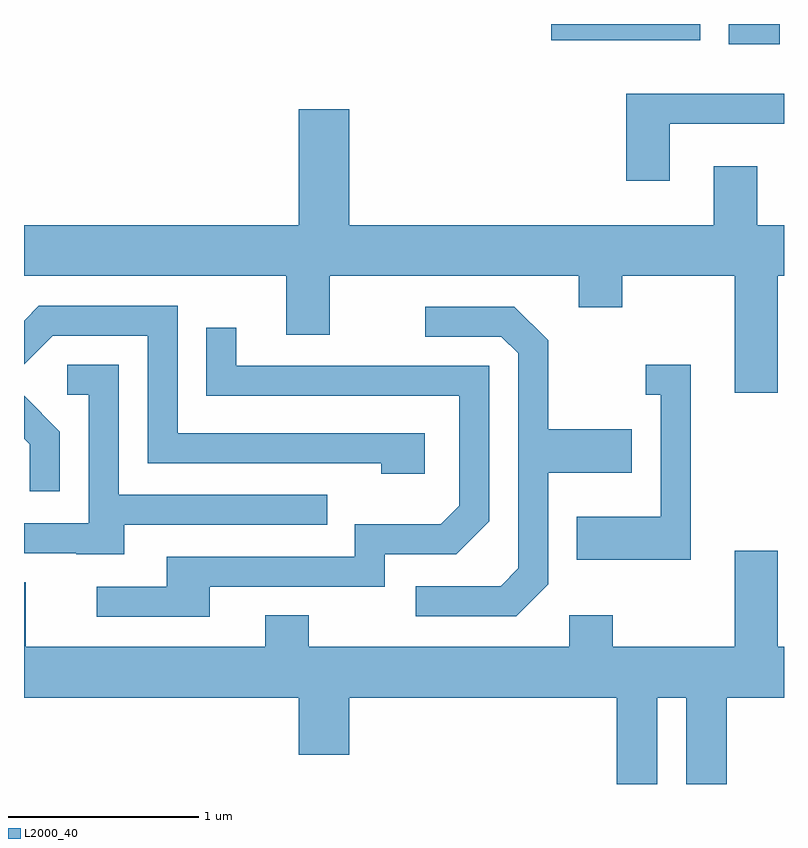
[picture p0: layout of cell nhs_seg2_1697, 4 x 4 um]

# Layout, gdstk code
import gdstk
lib = gdstk.Library(unit=1e-6, precision=1e-09)
def R(c, l, rs):  # rectangles x0, y0, x1, y1
    for r in rs: c.add(gdstk.rectangle(r[:2], r[2:], *l))
def P(c, l, *ps):  # polygons
    for p in ps: c.add(gdstk.Polygon(p, *l))
L2000_40 = (2000, 40)

nhs_seg2_1697 = lib.new_cell('nhs_seg2_1697')
R(nhs_seg2_1697, L2000_40, [(237.321,1111.696,237.589,1111.802), (236.386,1111.716,237.169,1111.802)])
P(nhs_seg2_1697, L2000_40, [(237.009,1111.276),(237.611,1111.276),(237.611,1111.434),(236.781,1111.434),(236.781,1110.976),(237.009,1110.976)],
  [(237.579,1110.476),(237.611,1110.476),(237.611,1110.744),(237.469,1110.744),(237.469,1111.054),(237.241,1111.054),(237.241,1110.744),(235.324,1110.744),(235.324,1111.354),(235.056,1111.354),(235.056,1110.744),(233.611,1110.744),(233.611,1110.476),(234.991,1110.476),(234.991,1110.166),(235.219,1110.166),(235.219,1110.476),(236.531,1110.476),(236.531,1110.311),(236.759,1110.311),(236.759,1110.476),(237.351,1110.476),(237.351,1109.861),(237.579,1109.861)],
  [(235.719,1109.649),(234.419,1109.649),(234.419,1110.319),(233.689,1110.319),(233.611,1110.241),(233.611,1110.01),(233.762,1110.161),(234.261,1110.161),(234.261,1109.491),(235.491,1109.491),(235.491,1109.436),(235.719,1109.436)],
  [(236.369,1108.854),(236.369,1109.441),(236.809,1109.441),(236.809,1109.669),(236.369,1109.669),(236.369,1110.137),(236.192,1110.314),(235.723,1110.314),(235.723,1110.156),(236.124,1110.156),(236.211,1110.069),(236.211,1108.937),(236.119,1108.844),(235.673,1108.844),(235.673,1108.686),(236.202,1108.686)],
  [(234.589,1108.841),(235.509,1108.841),(235.509,1109.011),(235.887,1109.011),(236.059,1109.184),(236.059,1110.004),(234.729,1110.004),(234.729,1110.203),(234.571,1110.203),(234.571,1109.846),(235.901,1109.846),(235.901,1109.267),(235.804,1109.169),(235.351,1109.169),(235.351,1108.999),(234.361,1108.999),(234.361,1108.839),(233.993,1108.839),(233.993,1108.681),(234.589,1108.681)],
  [(237.119,1110.009),(236.883,1110.009),(236.883,1109.851),(236.961,1109.851),(236.961,1109.209),(236.521,1109.209),(236.521,1108.981),(237.119,1108.981)],
  [(234.139,1109.166),(235.208,1109.166),(235.208,1109.324),(234.109,1109.324),(234.109,1110.009),(233.838,1110.009),(233.838,1109.851),(233.951,1109.851),(233.951,1109.174),(233.611,1109.174),(233.611,1109.016),(233.885,1109.016),(233.885,1109.011),(234.139,1109.011)],
  [(233.799,1109.657),(233.611,1109.845),(233.611,1109.619),(233.641,1109.589),(233.641,1109.343),(233.799,1109.343)],
  [(236.944,1108.256),(237.096,1108.256),(237.096,1107.802),(237.309,1107.802),(237.309,1108.256),(237.611,1108.256),(237.611,1108.524),(237.579,1108.524),(237.579,1109.029),(237.351,1109.029),(237.351,1108.524),(236.709,1108.524),(236.709,1108.689),(236.481,1108.689),(236.481,1108.524),(235.109,1108.524),(235.109,1108.689),(234.881,1108.689),(234.881,1108.524),(233.619,1108.524),(233.619,1108.864),(233.611,1108.864),(233.611,1108.256),(235.056,1108.256),(235.056,1107.956),(235.324,1107.956),(235.324,1108.256),(236.731,1108.256),(236.731,1107.802),(236.944,1107.802)])

lib.write_gds('nhs_seg2_1697.gds')
